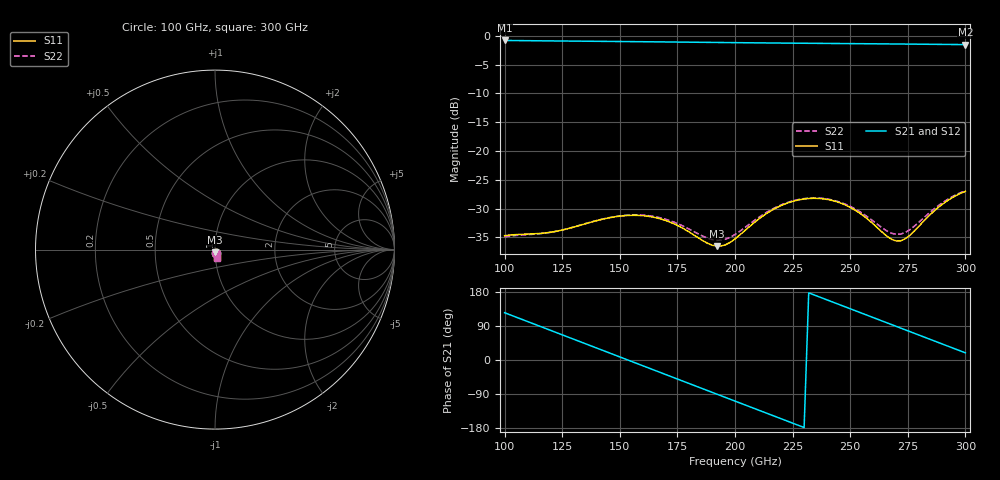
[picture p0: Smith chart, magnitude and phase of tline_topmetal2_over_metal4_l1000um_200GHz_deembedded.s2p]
! Created with skrf 2.2.0 (http://scikit-rf.org).
# GHz S DB R 50.0
! Port[1] = P1
! Port[2] = P2
!freq dBS11 angS11 dBS21 angS21 dBS12 angS12 dBS22 angS22
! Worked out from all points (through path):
!   101 points, 100 GHz to 300 GHz, reference 50 ohm
!   highest |S21| = -0.79 dB at 100 GHz (marker M1); lowest = -1.5 dB at 300 GHz (marker M2)
!   group delay of S21, straight-line fit = 6.47 ps
!   lowest |S11| = -36.5 dB at 192 GHz (marker M3), VSWR 1.03, Z = 50 - j1.49 ohm
!   |S11| at or under -10 dB: start of sweep to end of sweep
!   |S22| runs from -35.5 to -26.9 dB; largest |S21 - S12| = 1e-13
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100  -34.72 -71.7  -0.79 124.8  -0.79 124.8  -34.91 -72.5
108  -34.47 -73.5  -0.82 106.1  -0.82 106.1  -34.59 -73.8
116  -34.31 -73.4  -0.86 87.4  -0.86 87.4  -34.35 -73.5
124  -33.83 -72.2  -0.89 68.8  -0.89 68.8  -33.82 -72.3
134  -32.77 -72.9  -0.92 45.5  -0.92 45.5  -32.74 -73.0
144  -31.73 -78.2  -0.95 22.1  -0.95 22.1  -31.70 -78.0
152  -31.25 -84.9  -0.98 3.5  -0.98 3.5  -31.20 -84.3
160  -31.25 -92.7  -1.01 -15.2  -1.01 -15.2  -31.15 -91.5
168  -31.84 -100.1  -1.04 -33.9  -1.04 -33.9  -31.66 -98.3
180  -34.06 -105.1  -1.09 -61.8  -1.09 -61.8  -33.56 -102.5
192  -36.54 -87.4  -1.14 -89.8  -1.14 -89.8  -35.53 -87.7
200  -35.28 -68.0  -1.17 -108.4  -1.17 -108.4  -34.52 -71.7
208  -32.57 -62.0  -1.20 -127.0  -1.20 -127.0  -32.20 -65.9
218  -29.87 -68.5  -1.24 -150.3  -1.24 -150.3  -29.73 -71.2
226  -28.65 -78.4  -1.27 -168.9  -1.27 -168.9  -28.57 -80.2
234  -28.22 -89.7  -1.29 172.5  -1.29 172.5  -28.16 -90.7
242  -28.58 -100.9  -1.32 153.9  -1.32 153.9  -28.50 -100.9
252  -30.25 -111.8  -1.35 130.6  -1.35 130.6  -30.04 -110.6
268  -35.36 -98.7  -1.40 93.3  -1.40 93.3  -34.30 -97.8
274  -35.24 -77.0  -1.42 79.4  -1.42 79.4  -34.14 -80.2
282  -32.16 -61.7  -1.45 60.8  -1.45 60.8  -31.59 -66.8
300  -27.02 -74.5  -1.51 18.9  -1.51 18.9  -26.91 -77.7
